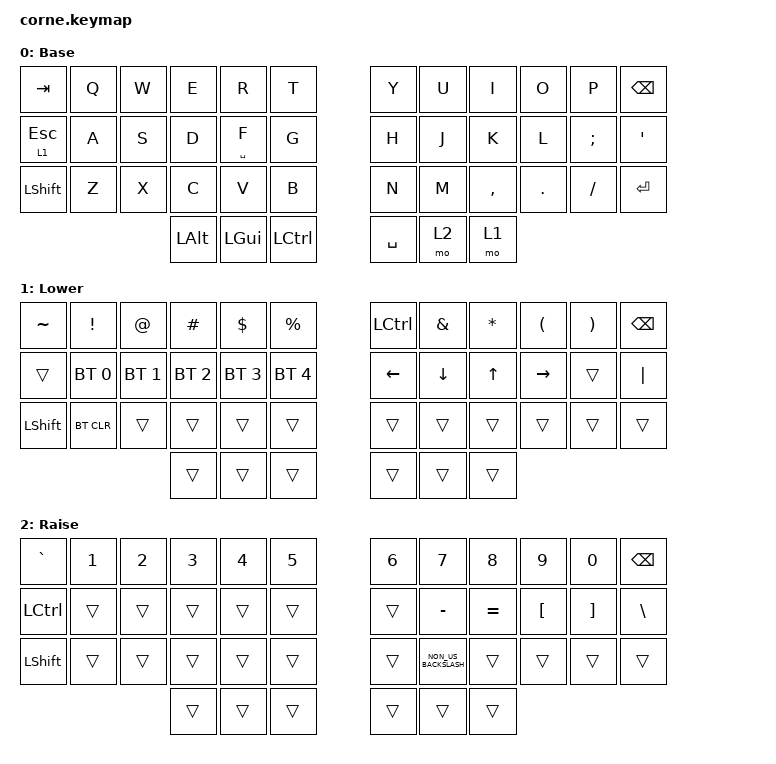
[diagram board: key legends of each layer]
/*
 * Copyright (c) 2020 The ZMK Contributors
 *
 * SPDX-License-Identifier: MIT
 */

#include <behaviors.dtsi>
#include <dt-bindings/zmk/bt.h>
#include <dt-bindings/zmk/keys.h>

/ {
    keymap {
        compatible = "zmk,keymap";

        default_layer {
            // -----------------------------------------------------------------------------------------
            // |  TAB |  Q  |  W  |  E  |  R  |  T  |   |  Y  |  U   |  I  |  O  |  P  | BKSP |
            // | CTRL |  A  |  S  |  D  |  F  |  G  |   |  H  |  J   |  K  |  L  |  ;  |  '   |
            // | SHFT |  Z  |  X  |  C  |  V  |  B  |   |  N  |  M   |  ,  |  .  |  /  | ESC  |
            //                    | GUI | LWR | SPC |   | ENT | RSE  | ALT |

            label = "Base";
            bindings = <
&kp TAB       &kp Q  &kp W  &kp E         &kp R        &kp T               &kp Y      &kp U  &kp I      &kp O    &kp P     &kp BSPC
&lt 1 ESCAPE  &kp A  &kp S  &kp D         &mt SPACE F  &kp G               &kp H      &kp J  &kp K      &kp L    &kp SEMI  &kp SQT
&kp LSHFT     &kp Z  &kp X  &kp C         &kp V        &kp B               &kp N      &kp M  &kp COMMA  &kp DOT  &kp FSLH  &kp ENTER
                            &kp LEFT_ALT  &kp LGUI     &kp LEFT_CONTROL    &kp SPACE  &mo 2  &mo 1
            >;
        };

        lower_layer {
            // -----------------------------------------------------------------------------------------
            // |  TAB |  1  |  2  |  3  |  4  |  5  |   |  6  |  7  |  8  |  9  |  0  | BKSP |
            // | BTCLR| BT1 | BT2 | BT3 | BT4 | BT5 |   | LFT | DWN |  UP | RGT |     |      |
            // | SHFT |     |     |     |     |     |   |     |     |     |     |     |      |
            //                    | GUI |     | SPC |   | ENT |     | ALT |

            label = "Lower";
            bindings = <
&kp TILDE  &kp EXCLAMATION  &kp AT_SIGN   &kp HASH      &kp DOLLAR    &kp PERCENT     &kp LCTRL  &kp AMPERSAND  &kp ASTERISK  &kp LEFT_PARENTHESIS  &kp RIGHT_PARENTHESIS  &kp BSPC
&trans     &bt BT_SEL 0     &bt BT_SEL 1  &bt BT_SEL 2  &bt BT_SEL 3  &bt BT_SEL 4    &kp LEFT   &kp DOWN       &kp UP        &kp RIGHT             &trans                 &kp PIPE
&kp LSHFT  &bt BT_CLR       &trans        &trans        &trans        &trans          &trans     &trans         &trans        &trans                &trans                 &trans
                                          &trans        &trans        &trans          &trans     &trans         &trans
            >;
        };

        raise_layer {
            // -----------------------------------------------------------------------------------------
            // |  TAB |  !  |  @  |  #  |  $  |  %  |   |  ^  |  &  |  *  |  (  |  )  | BKSP |
            // | CTRL |     |     |     |     |     |   |  -  |  =  |  [  |  ]  |  \  |  `   |
            // | SHFT |     |     |     |     |     |   |  _  |  +  |  {  |  }  | "|" |  ~   |
            //                    | GUI |     | SPC |   | ENT |     | ALT |

            label = "Raise";
            bindings = <
&kp GRAVE       &kp NUMBER_1  &kp NUMBER_2  &kp NUMBER_3  &kp NUMBER_4  &kp N5    &kp NUMBER_6  &kp N7                &kp N8     &kp N9            &kp N0             &kp BSPC
&kp LCTRL       &trans        &trans        &trans        &trans        &trans    &trans        &kp MINUS             &kp EQUAL  &kp LEFT_BRACKET  &kp RIGHT_BRACKET  &kp BACKSLASH
&kp LEFT_SHIFT  &trans        &trans        &trans        &trans        &trans    &trans        &kp NON_US_BACKSLASH  &trans     &trans            &trans             &trans
                                            &trans        &trans        &trans    &trans        &trans                &trans
            >;
        };
    };
};
